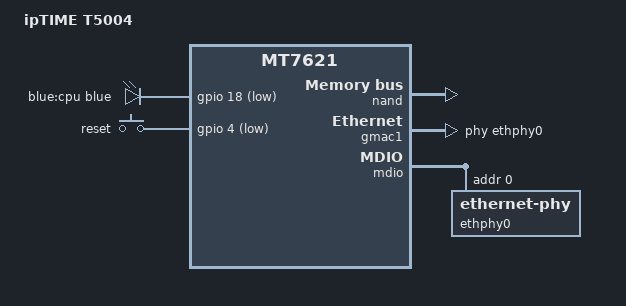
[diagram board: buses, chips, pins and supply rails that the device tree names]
// SPDX-License-Identifier: GPL-2.0-or-later OR MIT

#include "mt7621.dtsi"

#include <dt-bindings/gpio/gpio.h>
#include <dt-bindings/input/input.h>
#include <dt-bindings/leds/common.h>

/ {
	compatible = "iptime,t5004", "mediatek,mt7621-soc";
	model = "ipTIME T5004";

	aliases {
		led-boot = &led_cpu;
		led-failsafe = &led_cpu;
		led-running = &led_cpu;
		led-upgrade = &led_cpu;
	};

	leds {
		compatible = "gpio-leds";

		led_cpu: led-0 {
			label = "blue:cpu";
			color = <LED_COLOR_ID_BLUE>;
			function = LED_FUNCTION_CPU;
			gpios = <&gpio 18 GPIO_ACTIVE_LOW>;
		};
	};

	keys {
		compatible = "gpio-keys";

		reset {
			label = "reset";
			gpios = <&gpio 4 GPIO_ACTIVE_LOW>;
			linux,code = <KEY_RESTART>;
		};
	};
};

&nand {
	status = "okay";

	partitions {
		compatible = "fixed-partitions";
		#address-cells = <1>;
		#size-cells = <1>;

		partition@0 {
			label = "u-boot";
			reg = <0x0 0x80000>;
			read-only;
		};

		partition@80000 {
			label = "config";
			reg = <0x80000 0xc0000>;
			read-only;
		};

		partition@140000 {
			label = "firmware";
			reg = <0x140000 0x7e40000>;

			compatible = "fixed-partitions";
			#address-cells = <1>;
			#size-cells = <1>;

			partition@0 {
				label = "kernel";
				reg = <0x0 0x400000>;
			};

			partition@400000 {
				label = "ubi";
				reg = <0x400000 0x7a40000>;
			};
		};
	};
};

&state_default {
	gpio {
		groups = "i2c", "wdt";
		function = "gpio";
	};
};

&gmac1 {
	status = "okay";
	label = "wan";
	phy-handle = <&ethphy0>;
};

&mdio {
	ethphy0: ethernet-phy@0 {
		reg = <0>;
	};
};

&switch0 {
	ports {
		port@1 {
			status = "okay";
			label = "lan4";
		};

		port@2 {
			status = "okay";
			label = "lan3";
		};

		port@3 {
			status = "okay";
			label = "lan2";
		};

		port@4 {
			status = "okay";
			label = "lan1";
		};
	};
};

&xhci {
	status = "disabled";
};
